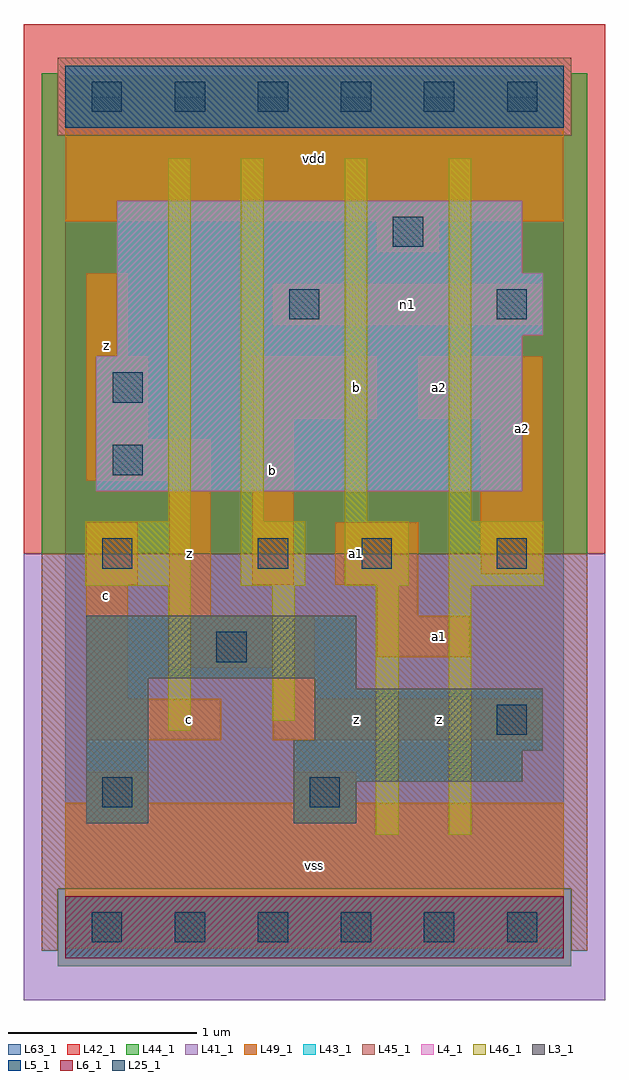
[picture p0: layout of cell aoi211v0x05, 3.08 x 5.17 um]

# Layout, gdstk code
import gdstk
lib = gdstk.Library(unit=1e-6, precision=1e-09)
def R(c, l, rs):  # rectangles x0, y0, x1, y1
    for r in rs: c.add(gdstk.rectangle(r[:2], r[2:], *l))
def A(c, l, x, y, w, h, nx, ny, dx, dy):  # array of equal rectangles
    R(c, l, [(x+i*dx, y+j*dy, x+i*dx+w, y+j*dy+h) for i in range(nx) for j in range(ny)])
L3_1 = (3, 1)
L4_1 = (4, 1)
L5_1 = (5, 1)
L6_1 = (6, 1)
L25_1 = (25, 1)
L41_1 = (41, 1)
L42_1 = (42, 1)
L43_1 = (43, 1)
L44_1 = (44, 1)
L45_1 = (45, 1)
L46_1 = (46, 1)
L49_1 = (49, 1)
L63_1 = (63, 1)

aoi211v0x05 = lib.new_cell('aoi211v0x05')
R(aoi211v0x05, L3_1, [(0.11,0.55,0.44,1.32), (1.21,0.55,1.54,0.77), (1.21,0.77,2.42,0.935), (1.21,0.935,2.53,0.99), (1.32,0.99,2.53,1.265), (1.32,1.265,1.54,1.32), (0.11,1.32,1.54,1.65)])
R(aoi211v0x05, L4_1, [(0.165,2.31,2.42,3.025), (0.275,3.025,2.42,3.135), (0.275,3.135,2.53,3.465), (0.275,3.465,2.42,3.85)])
R(aoi211v0x05, L5_1, [(0,4.235,2.64,4.565)])
R(aoi211v0x05, L6_1, [(0,-0.165,2.64,0.165)])
A(aoi211v0x05, L25_1, 0.14, -0.08, 0.16, 0.16, 6, 2, 0.44, 4.4)
R(aoi211v0x05, L25_1, [(0.195,0.635,0.355,0.795), (1.295,0.635,1.455,0.795), (2.285,1.02,2.445,1.18), (0.8,1.405,0.96,1.565), (0.195,1.9,0.355,2.06), (1.02,1.9,1.18,2.06), (1.57,1.9,1.73,2.06), (2.285,1.9,2.445,2.06), (0.25,2.395,0.41,2.555), (0.25,2.78,0.41,2.94), (1.185,3.22,1.345,3.38), (2.285,3.22,2.445,3.38), (1.735,3.605,1.895,3.765)])
R(aoi211v0x05, L41_1, [(-0.22,-0.385,2.86,1.98)])
R(aoi211v0x05, L42_1, [(-0.22,1.98,2.86,4.785)])
R(aoi211v0x05, L43_1, [(0,-0.165,2.64,0.165), (0.11,0.55,0.44,1.32), (1.21,0.55,1.54,0.77), (1.21,0.77,2.42,0.935), (1.21,0.935,2.53,0.99), (1.32,0.99,2.53,1.265), (1.32,1.265,1.54,1.32), (0.11,1.32,1.54,1.65), (0.165,2.31,2.42,3.025), (0.275,3.025,2.42,3.135), (0.275,3.135,2.53,3.465), (0.275,3.465,2.42,3.85), (0,4.235,2.64,4.565)])
R(aoi211v0x05, L44_1, [(-0.04,-0.205,2.68,0.205), (-0.125,1.98,2.765,4.195), (-0.125,4.195,-0.04,4.525), (2.68,4.195,2.765,4.525)])
R(aoi211v0x05, L45_1, [(-0.125,-0.125,-0.04,0.205), (2.68,-0.125,2.765,0.205), (-0.125,0.205,2.765,1.98), (-0.04,4.195,2.68,4.605)])
A(aoi211v0x05, L46_1, 0.93, 2.15, 0.12, 1.925, 3, 1, 0.55, 0)
R(aoi211v0x05, L46_1, [(1.645,0.49,1.765,1.81), (2.03,0.49,2.15,1.81), (0.545,1.04,0.665,1.81), (1.095,1.095,1.215,1.81), (0.105,1.81,0.665,2.15), (0.93,1.81,1.27,2.15), (1.48,1.81,1.82,2.15), (2.03,1.81,2.535,2.15), (0.545,2.15,0.665,4.075)])
R(aoi211v0x05, L49_1, [(0,-0.11,2.64,0.66), (0.11,0.66,0.44,0.825), (1.21,0.66,1.54,0.825), (0.11,0.99,0.825,1.21), (1.1,0.99,2.53,1.21), (0.11,1.21,0.33,1.815), (1.1,1.21,1.32,1.375), (0.55,1.375,1.32,1.65), (1.65,1.43,2.145,1.65), (0.55,1.65,0.77,2.365), (1.65,1.65,1.87,1.815), (0.11,1.815,0.385,2.145), (0.99,1.815,1.21,2.695), (1.43,1.815,1.87,2.145), (2.2,1.87,2.53,2.695), (0.11,2.365,0.77,2.585), (0.11,2.585,0.44,3.025), (0.99,2.695,1.65,3.025), (1.87,2.695,2.53,3.025), (0.11,3.025,0.33,3.465), (1.1,3.19,2.53,3.41), (1.65,3.575,1.98,3.74), (0,3.74,2.64,4.51)])
R(aoi211v0x05, L63_1, [(0,0,2.64,4.4)])
aoi211v0x05.add(gdstk.Label('c', (0.22,1.76), layer=49, texttype=1))
aoi211v0x05.add(gdstk.Label('z', (0.22,3.08), layer=49, texttype=1))
aoi211v0x05.add(gdstk.Label('c', (0.66,1.1), layer=49, texttype=1))
aoi211v0x05.add(gdstk.Label('z', (0.66,1.98), layer=49, texttype=1))
aoi211v0x05.add(gdstk.Label('vss', (1.32,0.33), layer=49, texttype=1))
aoi211v0x05.add(gdstk.Label('b', (1.1,2.42), layer=49, texttype=1))
aoi211v0x05.add(gdstk.Label('vdd', (1.32,4.07), layer=49, texttype=1))
aoi211v0x05.add(gdstk.Label('z', (1.54,1.1), layer=49, texttype=1))
aoi211v0x05.add(gdstk.Label('a1', (1.98,1.54), layer=49, texttype=1))
aoi211v0x05.add(gdstk.Label('z', (1.98,1.1), layer=49, texttype=1))
aoi211v0x05.add(gdstk.Label('a1', (1.54,1.98), layer=49, texttype=1))
aoi211v0x05.add(gdstk.Label('a2', (1.98,2.86), layer=49, texttype=1))
aoi211v0x05.add(gdstk.Label('b', (1.54,2.86), layer=49, texttype=1))
aoi211v0x05.add(gdstk.Label('a2', (2.42,2.64), layer=49, texttype=1))
aoi211v0x05.add(gdstk.Label('n1', (1.815,3.3), layer=49, texttype=1))

lib.write_gds('aoi211v0x05.gds')
